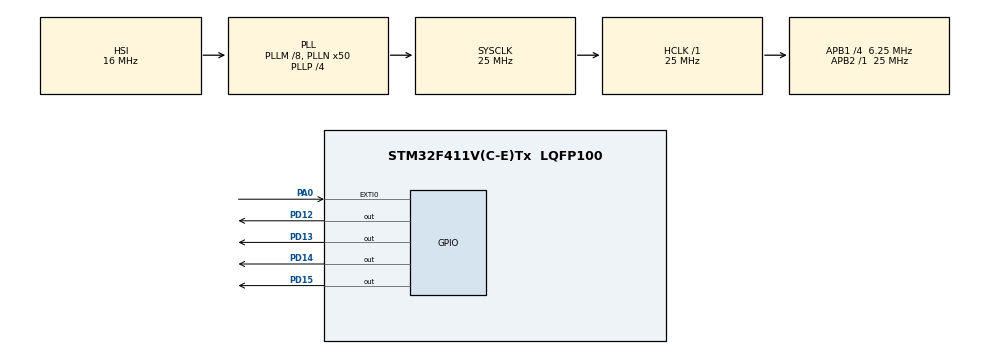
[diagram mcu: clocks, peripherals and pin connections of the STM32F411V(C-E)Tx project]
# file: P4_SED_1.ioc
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Mcu.Family=STM32F4
Mcu.Name=STM32F411V(C-E)Tx
Mcu.Package=LQFP100
NVIC.EXTI0_IRQn=true\:0\:0\:false\:false\:true\:true\:true\:true
NVIC.PriorityGroup=NVIC_PRIORITYGROUP_0
PA0-WKUP.Signal=GPXTI0
PD12.Signal=GPIO_Output
PD13.Signal=GPIO_Output
PD14.Signal=GPIO_Output
PD15.Signal=GPIO_Output
ProjectManager.HeapSize=0x200
ProjectManager.StackSize=0x400
ProjectManager.TargetToolchain=STM32CubeIDE
RCC.48MHZClocksFreq_Value=12500000
RCC.AHBFreq_Value=25000000
RCC.APB1CLKDivider=RCC_HCLK_DIV4
RCC.APB1Freq_Value=6250000
RCC.APB1TimFreq_Value=12500000
RCC.APB2Freq_Value=25000000
RCC.APB2TimFreq_Value=25000000
RCC.CortexFreq_Value=25000000
RCC.HCLKFreq_Value=25000000
RCC.HSE_VALUE=8000000
RCC.HSI_VALUE=16000000
RCC.LSE_VALUE=32768
RCC.PLLI2SM=5
RCC.PLLI2SN=200
RCC.PLLM=8
RCC.PLLN=50
RCC.PLLP=RCC_PLLP_DIV4
RCC.PLLQ=8
RCC.SYSCLKFreq_VALUE=25000000
RCC.SYSCLKSource=RCC_SYSCLKSOURCE_PLLCLK
RCC.VCOOutputFreq_Value=100000000
board=STM32F411E-DISCO

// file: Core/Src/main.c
/* USER CODE BEGIN Header */
/**
  ******************************************************************************
  * @file           : main.c
  * @brief          : Main program body
  ******************************************************************************
  * @attention
  *
  * Copyright (c) 2023 STMicroelectronics.
  * All rights reserved.
  *
  * This software is licensed under terms that can be found in the LICENSE file
  * in the root directory of this software component.
  * If no LICENSE file comes with this software, it is provided AS-IS.
  *
  ******************************************************************************
  */
/* USER CODE END Header */
#include "main.h"

/* USER CODE BEGIN Includes */
#include <stdlib.h>
/* USER CODE END Includes */

void SystemClock_Config(void);
static void MX_GPIO_Init(void);

/* USER CODE BEGIN 0 */
volatile uint32_t contador = 0;
volatile uint16_t flagPulsado = 0;
volatile uint32_t contadorAux = 0;

void HAL_GPIO_EXTI_Callback(uint16_t GPIO_Pin){
	if(GPIO_Pin == GPIO_PIN_0){
		contador = contadorAux;
		flagPulsado = 1;
	}
}
/* USER CODE END 0 */

int main(void)
{

  /* MCU Configuration--------------------------------------------------------*/

  /* Reset of all peripherals, Initializes the Flash interface and the Systick. */
  HAL_Init();

  /* Configure the system clock */
  SystemClock_Config();

  /* Initialize all configured peripherals */
  MX_GPIO_Init();
  /* USER CODE BEGIN 2 */
  uint16_t tiempoEspera;	//Tiempo hasta que se enciende la luz
  /* USER CODE END 2 */

  /* Infinite loop */
  while (1)
  {

    /* USER CODE BEGIN 3 */
	contadorAux = 0;
	HAL_GPIO_WritePin(GPIOD, GPIO_PIN_12, 0);
	HAL_GPIO_WritePin(GPIOD, GPIO_PIN_13, 0);
	HAL_GPIO_WritePin(GPIOD, GPIO_PIN_14, 0);
	HAL_GPIO_WritePin(GPIOD, GPIO_PIN_15, 1);

	tiempoEspera = rand () % (2000+1) + 2000;
	HAL_Delay(tiempoEspera);

	HAL_GPIO_WritePin(GPIOD, GPIO_PIN_12, 1);
	HAL_GPIO_WritePin(GPIOD, GPIO_PIN_15, 0);

	while (!flagPulsado){
		if(HAL_GPIO_ReadPin(GPIOD, GPIO_PIN_0)){
			HAL_GPIO_EXTI_Callback(GPIO_PIN_0);
		}
		else
			contadorAux++;
	}
	HAL_GPIO_WritePin(GPIOD, GPIO_PIN_12, 0);
	HAL_GPIO_WritePin(GPIOD, GPIO_PIN_14, 1);
	HAL_Delay(5000);
	flagPulsado = 0;

  }
  /* USER CODE END 3 */
}

void SystemClock_Config(void)
{
  RCC_OscInitTypeDef RCC_OscInitStruct = {0};
  RCC_ClkInitTypeDef RCC_ClkInitStruct = {0};

  /** Configure the main internal regulator output voltage
  */
  __HAL_RCC_PWR_CLK_ENABLE();
  __HAL_PWR_VOLTAGESCALING_CONFIG(PWR_REGULATOR_VOLTAGE_SCALE1);

  /** Initializes the RCC Oscillators according to the specified parameters
  * in the RCC_OscInitTypeDef structure.
  */
  RCC_OscInitStruct.OscillatorType = RCC_OSCILLATORTYPE_HSI;
  RCC_OscInitStruct.HSIState = RCC_HSI_ON;
  RCC_OscInitStruct.HSICalibrationValue = RCC_HSICALIBRATION_DEFAULT;
  RCC_OscInitStruct.PLL.PLLState = RCC_PLL_ON;
  RCC_OscInitStruct.PLL.PLLSource = RCC_PLLSOURCE_HSI;
  RCC_OscInitStruct.PLL.PLLM = 8;
  RCC_OscInitStruct.PLL.PLLN = 50;
  RCC_OscInitStruct.PLL.PLLP = RCC_PLLP_DIV4;
  RCC_OscInitStruct.PLL.PLLQ = 8;
  if (HAL_RCC_OscConfig(&RCC_OscInitStruct) != HAL_OK)
  {
    Error_Handler();
  }

  /** Initializes the CPU, AHB and APB buses clocks
  */
  RCC_ClkInitStruct.ClockType = RCC_CLOCKTYPE_HCLK|RCC_CLOCKTYPE_SYSCLK
                              |RCC_CLOCKTYPE_PCLK1|RCC_CLOCKTYPE_PCLK2;
  RCC_ClkInitStruct.SYSCLKSource = RCC_SYSCLKSOURCE_PLLCLK;
  RCC_ClkInitStruct.AHBCLKDivider = RCC_SYSCLK_DIV1;
  RCC_ClkInitStruct.APB1CLKDivider = RCC_HCLK_DIV4;
  RCC_ClkInitStruct.APB2CLKDivider = RCC_HCLK_DIV1;

  if (HAL_RCC_ClockConfig(&RCC_ClkInitStruct, FLASH_LATENCY_0) != HAL_OK)
  {
    Error_Handler();
  }
}

static void MX_GPIO_Init(void)
{
  GPIO_InitTypeDef GPIO_InitStruct = {0};

  /* GPIO Ports Clock Enable */
  __HAL_RCC_GPIOA_CLK_ENABLE();
  __HAL_RCC_GPIOD_CLK_ENABLE();

  /*Configure GPIO pin Output Level */
  HAL_GPIO_WritePin(GPIOD, GPIO_PIN_12|GPIO_PIN_13|GPIO_PIN_14|GPIO_PIN_15, GPIO_PIN_RESET);

  /*Configure GPIO pin : PA0 */
  GPIO_InitStruct.Pin = GPIO_PIN_0;
  GPIO_InitStruct.Mode = GPIO_MODE_IT_RISING;
  GPIO_InitStruct.Pull = GPIO_NOPULL;
  HAL_GPIO_Init(GPIOA, &GPIO_InitStruct);

  /*Configure GPIO pins : PD12 PD13 PD14 PD15 */
  GPIO_InitStruct.Pin = GPIO_PIN_12|GPIO_PIN_13|GPIO_PIN_14|GPIO_PIN_15;
  GPIO_InitStruct.Mode = GPIO_MODE_OUTPUT_PP;
  GPIO_InitStruct.Pull = GPIO_NOPULL;
  GPIO_InitStruct.Speed = GPIO_SPEED_FREQ_LOW;
  HAL_GPIO_Init(GPIOD, &GPIO_InitStruct);

  /* EXTI interrupt init*/
  HAL_NVIC_SetPriority(EXTI0_IRQn, 0, 0);
  HAL_NVIC_EnableIRQ(EXTI0_IRQn);

}

void Error_Handler(void)
{
  __disable_irq();
  while (1)
  {
  }
}
